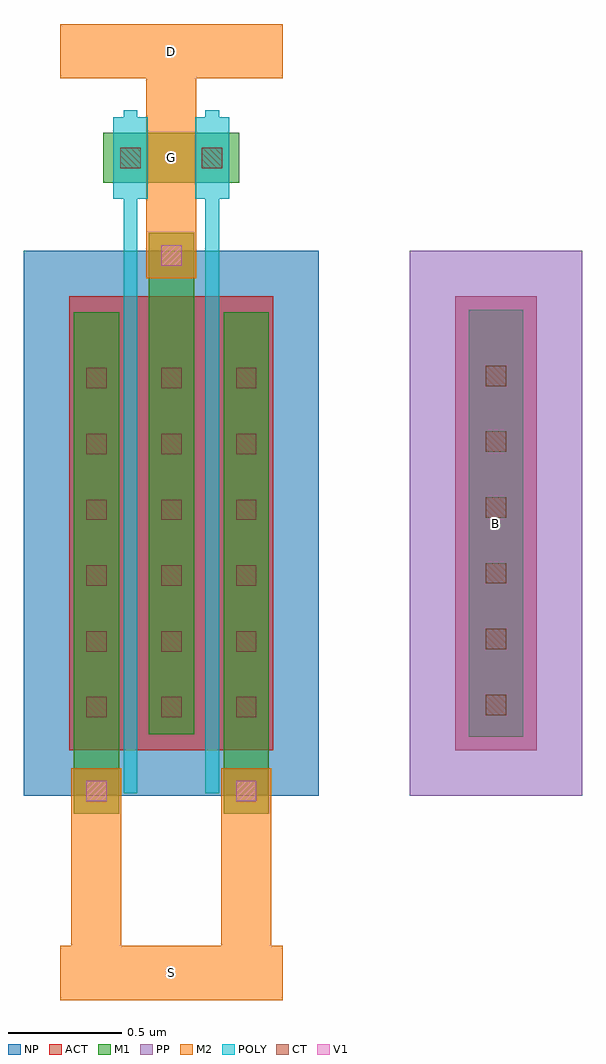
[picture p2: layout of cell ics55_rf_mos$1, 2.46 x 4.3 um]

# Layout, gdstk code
import gdstk
lib = gdstk.Library(unit=1e-6, precision=1e-09)
def R(c, l, rs):  # rectangles x0, y0, x1, y1
    for r in rs: c.add(gdstk.rectangle(r[:2], r[2:], *l))
def A(c, l, x, y, w, h, nx, ny, dx, dy):  # array of equal rectangles
    R(c, l, [(x+i*dx, y+j*dy, x+i*dx+w, y+j*dy+h) for i in range(nx) for j in range(ny)])
ACT = (2, 1)
POLY = (41, 1)
NP = (52, 1)
PP = (53, 1)
CT = (72, 1)
M1 = (81, 1)
M2 = (82, 1)
V1 = (91, 1)

ics55_rf_mos_1 = lib.new_cell('ics55_rf_mos$1')
R(ics55_rf_mos_1, ACT, [(-0.45,-1,0.45,1), (1.25,-1,1.61,1)])
R(ics55_rf_mos_1, POLY, [(-0.21,-1.19,-0.15,1.82), (0.15,-1.19,0.21,1.82), (-0.255,1.43,-0.105,1.79), (0.105,1.43,0.255,1.79)])
R(ics55_rf_mos_1, NP, [(-0.65,-1.2,0.65,1.2)])
R(ics55_rf_mos_1, PP, [(1.05,-1.2,1.81,1.2)])
A(ics55_rf_mos_1, CT, -0.375, -0.855, 0.09, 0.09, 3, 6, 0.33, 0.29)
A(ics55_rf_mos_1, CT, 1.385, -0.845, 0.09, 0.09, 1, 6, 0, 0.29)
R(ics55_rf_mos_1, CT, [(-0.225,1.565,-0.135,1.655), (0.135,1.565,0.225,1.655)])
R(ics55_rf_mos_1, M1, [(-0.43,-1.28,-0.23,0.93), (0.23,-1.28,0.43,0.93), (1.31,-0.94,1.55,0.94), (-0.1,-0.93,0.1,1.28), (-0.3,1.5,0.3,1.72)])
R(ics55_rf_mos_1, M2, [(-0.49,-2.1,0.49,-1.86), (-0.44,-2.1,-0.22,-1.08), (0.22,-2.1,0.44,-1.08), (-0.11,1.08,0.11,2.2), (-0.49,1.96,0.49,2.2)])
R(ics55_rf_mos_1, V1, [(-0.375,-1.225,-0.285,-1.135), (0.285,-1.225,0.375,-1.135), (-0.045,1.135,0.045,1.225)])
ics55_rf_mos_1.add(gdstk.Label('G', (0,1.61), layer=81, texttype=6))
ics55_rf_mos_1.add(gdstk.Label('B', (1.43,0), layer=81, texttype=6))
ics55_rf_mos_1.add(gdstk.Label('S', (0,-1.98), layer=82, texttype=6))
ics55_rf_mos_1.add(gdstk.Label('D', (0,2.08), layer=82, texttype=6))

lib.write_gds('ics55_rf_mos_1.gds')
